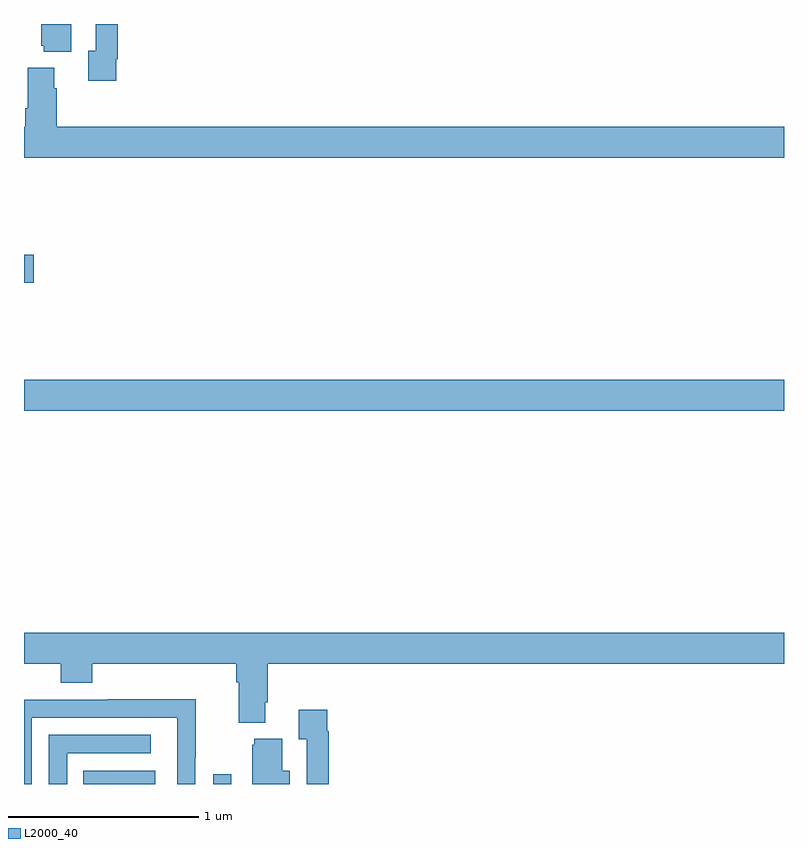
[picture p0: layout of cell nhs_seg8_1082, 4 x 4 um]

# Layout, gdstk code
import gdstk
lib = gdstk.Library(unit=1e-6, precision=1e-09)
def R(c, l, rs):  # rectangles x0, y0, x1, y1
    for r in rs: c.add(gdstk.rectangle(r[:2], r[2:], *l))
def P(c, l, *ps):  # polygons
    for p in ps: c.add(gdstk.Polygon(p, *l))
L2000_40 = (2000, 40)

nhs_seg8_1082 = lib.new_cell('nhs_seg8_1082')
R(nhs_seg8_1082, L2000_40, [(181.312,1083.9,181.69,1083.97), (181.995,1083.9,182.091,1083.952), (181,1085.864,185,1086.028), (181,1086.539,181.051,1086.686)])
P(nhs_seg8_1082, L2000_40, [(181.486,1087.714),(181.493,1087.714),(181.493,1087.9),(181.377,1087.9),(181.377,1087.758),(181.337,1087.758),(181.337,1087.602),(181.486,1087.602)],
  [(181.249,1087.9),(181.091,1087.9),(181.091,1087.785),(181.103,1087.785),(181.103,1087.754),(181.249,1087.754)],
  [(185,1087.36),(181.172,1087.36),(181.172,1087.562),(181.159,1087.562),(181.159,1087.669),(181.019,1087.669),(181.019,1087.456),(181.007,1087.456),(181.007,1087.36),(181,1087.36),(181,1087.196),(185,1087.196)],
  [(182.269,1084.33),(182.282,1084.33),(182.282,1084.532),(185,1084.532),(185,1084.696),(181,1084.696),(181,1084.532),(181.193,1084.532),(181.193,1084.433),(181.358,1084.433),(181.358,1084.532),(182.117,1084.532),(182.117,1084.436),(182.129,1084.436),(182.129,1084.223),(182.269,1084.223)],
  [(181.041,1084.248),(181.806,1084.248),(181.806,1083.9),(181.902,1083.9),(181.902,1084.039),(181.905,1084.039),(181.905,1084.346),(181.441,1084.346),(181.441,1084.344),(181,1084.344),(181,1083.9),(181.041,1083.9)],
  [(182.603,1084.178),(182.596,1084.178),(182.596,1084.291),(182.447,1084.291),(182.447,1084.135),(182.487,1084.135),(182.487,1083.9),(182.603,1083.9)],
  [(181.227,1084.062),(181.666,1084.062),(181.666,1084.158),(181.131,1084.158),(181.131,1083.9),(181.227,1083.9)],
  [(182.398,1083.97),(182.359,1083.97),(182.359,1084.138),(182.213,1084.138),(182.213,1084.107),(182.201,1084.107),(182.201,1083.9),(182.398,1083.9)])

lib.write_gds('nhs_seg8_1082.gds')
